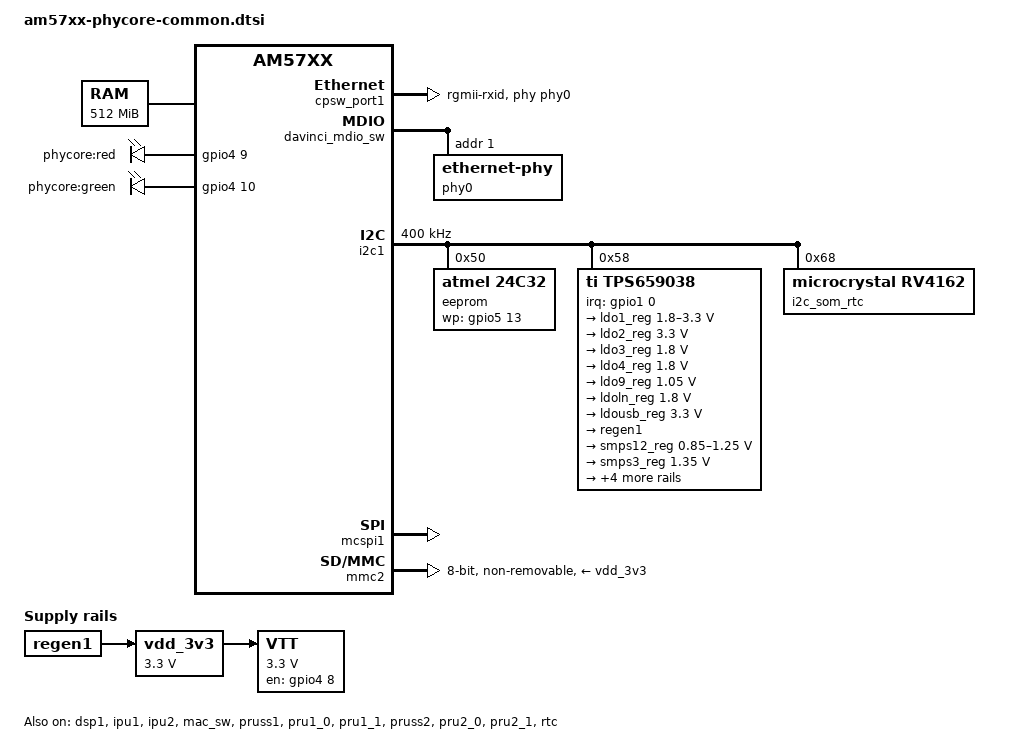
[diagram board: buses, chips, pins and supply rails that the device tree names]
// SPDX-License-Identifier: GPL-2.0
/*
 * Copyright (C) 2018 PHYTEC America, LLC. - https://www.phytec.com
 * Author: Russell Robinson <rrobinson@phytec.com>
 *
 * Copyright (C) 2023 PHYTEC Messtechnik GmbH
 * Author: Primoz Fiser <primoz.fiser@norik.com>
 *
 * Product homepage:
 * https://www.phytec.com/product/phycore-am57x
 */

#include <dt-bindings/gpio/gpio.h>
#include "am57xx-industrial-grade.dtsi"

/ {
	aliases {
		mmc1 = &mmc2;
		rtc0 = &i2c_som_rtc;
		rtc1 = &rtc;
		rtc2 = &i2c_pmic_rtc;
	};

	/*
	 * Set the minimum memory size here and
	 * let the bootloader set the real size.
	 */
	memory {
		device_type = "memory";
		reg = <0x0 0x80000000 0x0 0x20000000>;
	};

	reserved-memory {
		#address-cells = <2>;
		#size-cells = <2>;
		ranges;

		dsp1_memory_region: dsp1-memory@99000000 {
			compatible = "shared-dma-pool";
			reg = <0x0 0x99000000 0x0 0x4000000>;
			reusable;
		};

		ipu1_memory_region: ipu1-memory@9d000000 {
			compatible = "shared-dma-pool";
			reg = <0x0 0x9d000000 0x0 0x2000000>;
			reusable;
		};

		ipu2_memory_region: ipu2-memory@95800000 {
			compatible = "shared-dma-pool";
			reg = <0x0 0x95800000 0x0 0x3800000>;
			reusable;
		};
	};

	vdd_3v3: regulator-vdd-3v3 {
		compatible = "regulator-fixed";
		regulator-name = "VDD_3V3";
		vin-supply = <&regen1>;
		regulator-min-microvolt = <3300000>;
		regulator-max-microvolt = <3300000>;
	};

	regulator-vtt {
		/* TPS51200 */
		compatible = "regulator-fixed";
		regulator-name = "VTT";
		vin-supply = <&vdd_3v3>;
		regulator-min-microvolt = <3300000>;
		regulator-max-microvolt = <3300000>;
		regulator-always-on;
		regulator-boot-on;
		enable-active-high;
		gpio = <&gpio4 8 GPIO_ACTIVE_HIGH>;
	};

	leds {
		compatible = "gpio-leds";
		pinctrl-names = "default";
		pinctrl-0 = <&leds_som_pins_default>;
		pinctrl-1 = <&leds_som_pins_sleep>;

		led-3 {
			label = "phycore:red";
			gpios = <&gpio4 9 GPIO_ACTIVE_HIGH>;
			linux,default-trigger = "heartbeat";
		};

		led-4 {
			label = "phycore:green";
			gpios = <&gpio4 10 GPIO_ACTIVE_HIGH>;
			linux,default-trigger = "cpu0";
		};
	};
};

&dra7_pmx_core {
	davinci_mdio_pins_default: davinci_mdio_pins_default {
		pinctrl-single,pins = <
			/* MDIO */
			DRA7XX_CORE_IOPAD(0x363c, PIN_OUTPUT_PULLUP | MUX_MODE0)	/* (V1) mdio_mclk */
			DRA7XX_CORE_IOPAD(0x3640, PIN_INPUT_PULLUP | MUX_MODE0)		/* (U4) mdio_d */
		>;
	};

	davinci_mdio_pins_sleep: davinci_mdio_pins_sleep {
		pinctrl-single,pins = <
			DRA7XX_CORE_IOPAD(0x363c, PIN_INPUT | MUX_MODE15)
			DRA7XX_CORE_IOPAD(0x3640, PIN_INPUT | MUX_MODE15)
		>;
	};

	eeprom_wp_pin: eeprom_wp_pin {
		pinctrl-single,pins = <
			DRA7XX_CORE_IOPAD(0x3724, PIN_OUTPUT | MUX_MODE14)	/* mcasp3_aclkx.gpio5_13 */
		>;
	};

	emac0_pins_default: emac0_pins_default {
		pinctrl-single,pins = <
			/* Slave 1 */
			DRA7XX_CORE_IOPAD(0x3650, PIN_OUTPUT | MUX_MODE0)	/* (W9) rgmii0_txc */
			DRA7XX_CORE_IOPAD(0x3654, PIN_OUTPUT | MUX_MODE0)	/* (V9) rgmii0_txctl */
			DRA7XX_CORE_IOPAD(0x3658, PIN_OUTPUT | MUX_MODE0)	/* (V7) rgmii0_txd3 */
			DRA7XX_CORE_IOPAD(0x365c, PIN_OUTPUT | MUX_MODE0)	/* (U7) rgmii0_txd2 */
			DRA7XX_CORE_IOPAD(0x3660, PIN_OUTPUT | MUX_MODE0)	/* (V6) rgmii0_txd1 */
			DRA7XX_CORE_IOPAD(0x3664, PIN_OUTPUT | MUX_MODE0)	/* (U6) rgmii0_txd0 */
			DRA7XX_CORE_IOPAD(0x3668, PIN_INPUT | MUX_MODE0)	/* (U5) rgmii0_rxc */
			DRA7XX_CORE_IOPAD(0x366c, PIN_INPUT | MUX_MODE0)	/* (V5) rgmii0_rxctl */
			DRA7XX_CORE_IOPAD(0x3670, PIN_INPUT | MUX_MODE0)	/* (V4) rgmii0_rxd3 */
			DRA7XX_CORE_IOPAD(0x3674, PIN_INPUT | MUX_MODE0)	/* (V3) rgmii0_rxd2 */
			DRA7XX_CORE_IOPAD(0x3678, PIN_INPUT | MUX_MODE0)	/* (Y2) rgmii0_rxd1 */
			DRA7XX_CORE_IOPAD(0x367c, PIN_INPUT | MUX_MODE0)	/* (W2) rgmii0_rxd0 */
		>;

	};

	emac0_pins_sleep: emac0_pins_sleep {
		pinctrl-single,pins = <
			/* Slave 1 */
			DRA7XX_CORE_IOPAD(0x3650, PIN_INPUT | MUX_MODE15)
			DRA7XX_CORE_IOPAD(0x3654, PIN_INPUT | MUX_MODE15)
			DRA7XX_CORE_IOPAD(0x3658, PIN_INPUT | MUX_MODE15)
			DRA7XX_CORE_IOPAD(0x365c, PIN_INPUT | MUX_MODE15)
			DRA7XX_CORE_IOPAD(0x3660, PIN_INPUT | MUX_MODE15)
			DRA7XX_CORE_IOPAD(0x3664, PIN_INPUT | MUX_MODE15)
			DRA7XX_CORE_IOPAD(0x3668, PIN_INPUT | MUX_MODE15)
			DRA7XX_CORE_IOPAD(0x366c, PIN_INPUT | MUX_MODE15)
			DRA7XX_CORE_IOPAD(0x3670, PIN_INPUT | MUX_MODE15)
			DRA7XX_CORE_IOPAD(0x3674, PIN_INPUT | MUX_MODE15)
			DRA7XX_CORE_IOPAD(0x3678, PIN_INPUT | MUX_MODE15)
			DRA7XX_CORE_IOPAD(0x367c, PIN_INPUT | MUX_MODE15)
		>;
	};

	i2c1_pins_default: i2c1_pins_default {
		pinctrl-single,pins = <
			DRA7XX_CORE_IOPAD(0x3800, PIN_INPUT_PULLUP | MUX_MODE0)	/* (C21) i2c1_sda */
			DRA7XX_CORE_IOPAD(0x3804, PIN_INPUT_PULLUP | MUX_MODE0)	/* (C20) i2c1_scl */
		>;
	};

	i2c1_pins_sleep: i2c1_pins_sleep {
		pinctrl-single,pins = <
			DRA7XX_CORE_IOPAD(0x3800, PIN_INPUT | MUX_MODE15)
			DRA7XX_CORE_IOPAD(0x3804, PIN_INPUT | MUX_MODE15)
		>;
	};

	leds_som_pins_default: leds_som_pins_default {
		pinctrl-single,pins = <
			DRA7XX_CORE_IOPAD(0x3588, PIN_OUTPUT | MUX_MODE14)	/* (F5) vin2a_d8.gpio4_9 */
			DRA7XX_CORE_IOPAD(0x358c, PIN_OUTPUT | MUX_MODE14)	/* (E6) vin2a_d9.gpio4_10 */
		>;
	};

	leds_som_pins_sleep: leds_som_pins_sleep {
		pinctrl-single,pins = <
			DRA7XX_CORE_IOPAD(0x3588, PIN_INPUT_PULLDOWN | MUX_MODE15)
			DRA7XX_CORE_IOPAD(0x358c, PIN_INPUT_PULLDOWN | MUX_MODE15)
		>;
	};

	mcspi1_pins_default: mcspi1_pins_default {
		pinctrl-single,pins = <
			DRA7XX_CORE_IOPAD(0x37a4, PIN_INPUT | MUX_MODE0)         /* spi1_sclk */
			DRA7XX_CORE_IOPAD(0x37a8, PIN_INPUT | MUX_MODE0)         /* spi1_d1 */
			DRA7XX_CORE_IOPAD(0x37ac, PIN_INPUT | MUX_MODE0)         /* spi1_d0 */
			DRA7XX_CORE_IOPAD(0x37b0, PIN_OUTPUT_PULLUP | MUX_MODE0) /* spi1_cs0 */
			DRA7XX_CORE_IOPAD(0x37b4, PIN_OUTPUT_PULLUP | MUX_MODE0) /* spi1_cs1 */
		>;
	};

	mmc2_pins_sleep: mmc2_pins_sleep {
		pinctrl-single,pins = <
			DRA7XX_CORE_IOPAD(0x349c, PIN_INPUT | MUX_MODE15)
			DRA7XX_CORE_IOPAD(0x34b0, PIN_INPUT | MUX_MODE15)
			DRA7XX_CORE_IOPAD(0x34a0, PIN_INPUT | MUX_MODE15)
			DRA7XX_CORE_IOPAD(0x34a4, PIN_INPUT | MUX_MODE15)
			DRA7XX_CORE_IOPAD(0x34a8, PIN_INPUT | MUX_MODE15)
			DRA7XX_CORE_IOPAD(0x34ac, PIN_INPUT | MUX_MODE15)
			DRA7XX_CORE_IOPAD(0x348c, PIN_INPUT | MUX_MODE15)
			DRA7XX_CORE_IOPAD(0x3490, PIN_INPUT | MUX_MODE15)
			DRA7XX_CORE_IOPAD(0x3494, PIN_INPUT | MUX_MODE15)
			DRA7XX_CORE_IOPAD(0x3498, PIN_INPUT | MUX_MODE15)
		>;
	};

	tps659038_pins_default: tps659038_pins_default {
		pinctrl-single,pins = <
			DRA7XX_CORE_IOPAD(0x3818, PIN_INPUT_PULLUP | MUX_MODE14)	/* (AD17) Wakeup0.gpio1_0 */
		>;
	};
};

&cpu0 {
	vdd-supply = <&smps12_reg>;
	voltage-tolerance = <1>;
};

&cpsw_port1 {
	phy-handle = <&phy0>;
	phy-mode = "rgmii-rxid";
	ti,dual-emac-pvid = <1>;
};

&davinci_mdio_sw {
	pinctrl-names = "default", "sleep";
	pinctrl-0 = <&davinci_mdio_pins_default>;
	pinctrl-1 = <&davinci_mdio_pins_sleep>;

	phy0: ethernet-phy@1 {
		reg = <1>;
	};
};

&dsp1 {
	status = "okay";
	memory-region = <&dsp1_memory_region>;
};

&gpio4_target {
	ti,no-reset-on-init;
	ti,no-idle-on-init;
};

&i2c1 {
	status = "okay";
	pinctrl-names = "default", "sleep";
	pinctrl-0 = <&i2c1_pins_default>;
	pinctrl-1 = <&i2c1_pins_sleep>;
	clock-frequency = <400000>;

	eeprom@50 {
		compatible = "atmel,24c32";
		pinctrl-names = "default";
		pinctrl-0 = <&eeprom_wp_pin>;
		wp-gpios = <&gpio5 13 GPIO_ACTIVE_HIGH>;
		reg = <0x50>;
		pagesize = <32>;
	};

	tps659038: pmic@58 {
		compatible = "ti,tps659038";
		reg = <0x58>;
		interrupt-parent = <&gpio1>;
		interrupts = <0 IRQ_TYPE_LEVEL_LOW>;

		#interrupt-cells = <2>;
		interrupt-controller;

		pinctrl-names = "default";
		pinctrl-0 = <&tps659038_pins_default>;

		ti,system-power-controller;
		ti,palmas-override-powerhold;

		pmic {
			compatible = "ti,tps659038-pmic";

			regulators {
				ldo1_reg: ldo1 {
					regulator-name = "VDD_SD";
					regulator-min-microvolt = <1800000>;
					regulator-max-microvolt = <3300000>;
					regulator-always-on;
					regulator-boot-on;
				};

				ldo2_reg: ldo2 {
					regulator-name = "VDD_SHV5";
					regulator-min-microvolt = <3300000>;
					regulator-max-microvolt = <3300000>;
					regulator-always-on;
					regulator-boot-on;
				};

				ldo3_reg: ldo3 {
					regulator-name = "VDDA_1V8_PHYA";
					regulator-min-microvolt = <1800000>;
					regulator-max-microvolt = <1800000>;
					regulator-always-on;
					regulator-boot-on;
				};

				ldo4_reg: ldo4 {
					regulator-name = "VDDA_1V8_PHYB";
					regulator-min-microvolt = <1800000>;
					regulator-max-microvolt = <1800000>;
					regulator-always-on;
					regulator-boot-on;
				};

				ldo9_reg: ldo9 {
					regulator-name = "VDD_RTC";
					regulator-min-microvolt = <1050000>;
					regulator-max-microvolt = <1050000>;
					regulator-always-on;
					regulator-boot-on;
				};

				ldoln_reg: ldoln {
					regulator-name = "VDDA_1V8_PLL";
					regulator-min-microvolt = <1800000>;
					regulator-max-microvolt = <1800000>;
					regulator-always-on;
					regulator-boot-on;
				};

				ldousb_reg: ldousb {
					regulator-name = "VUSB_3V3";
					regulator-min-microvolt = <3300000>;
					regulator-max-microvolt = <3300000>;
					regulator-boot-on;
				};

				regen1: regen1 {
					regulator-name = "VDD_3V3_ON";
					regulator-boot-on;
					regulator-always-on;
				};

				smps12_reg: smps12 {
					regulator-name = "VDD_MPU";
					regulator-min-microvolt = <850000>;
					regulator-max-microvolt = <1250000>;
					regulator-always-on;
					regulator-boot-on;
				};

				smps3_reg: smps3 {
					regulator-name = "VDD_DDR";
					regulator-min-microvolt = <1350000>;
					regulator-max-microvolt = <1350000>;
					regulator-always-on;
					regulator-boot-on;
				};

				smps45_reg: smps45 {
					regulator-name = "VDD_DSP";
					regulator-min-microvolt = <850000>;
					regulator-max-microvolt = <1150000>;
					regulator-always-on;
					regulator-boot-on;
				};

				smps6_reg: smps6 {
					regulator-name = "VDD_CORE";
					regulator-min-microvolt = <850000>;
					regulator-max-microvolt = <1030000>;
					regulator-always-on;
					regulator-boot-on;
				};

				/* SMPS7 unused */

				smps8_reg: smps8 {
					regulator-name = "VDD_1V8";
					regulator-min-microvolt = <1800000>;
					regulator-max-microvolt = <1800000>;
					regulator-always-on;
					regulator-boot-on;
				};

				smps9_reg: smps9 {
					regulator-name = "ETH0_VDD_1V2";
					regulator-min-microvolt = <1200000>;
					regulator-max-microvolt = <1200000>;
					regulator-always-on;
					regulator-boot-on;
				};
			};
		};

		power-button {
			compatible = "ti,palmas-pwrbutton";
			interrupt-parent = <&tps659038>;
			interrupts = <1 IRQ_TYPE_EDGE_FALLING>;
			wakeup-source;
			ti,palmas-long-press-seconds = <12>;
		};

		i2c_pmic_rtc: rtc {
			compatible = "ti,palmas-rtc";
			interrupt-parent = <&tps659038>;
			interrupts = <8 IRQ_TYPE_EDGE_FALLING>;
			wakeup-source;
		};

		extcon_usb2: extcon {
			compatible = "ti,palmas-usb-vid";
			ti,enable-vbus-detection;
			ti,enable-id-detection;
		};
	};

	i2c_som_rtc: rtc@68 {
		compatible = "microcrystal,rv4162";
		reg = <0x68>;
		wakeup-source;
	};
};

&ipu1 {
	status = "okay";
	memory-region = <&ipu1_memory_region>;
};

&ipu2 {
	status = "okay";
	memory-region = <&ipu2_memory_region>;
};

&mac_sw {
	status = "okay";
	slaves = <1>;
	pinctrl-names = "default", "sleep";
	pinctrl-0 = <&emac0_pins_default>;
	pinctrl-1 = <&emac0_pins_sleep>;
};

&mailbox3 {
	status = "okay";
	mbox_pru1_0: mbox-pru1-0 {
		ti,mbox-tx = <0 0 0>;
		ti,mbox-rx = <1 0 0>;
		status = "okay";
	};
	mbox_pru1_1: mbox-pru1-1 {
		ti,mbox-tx = <2 0 0>;
		ti,mbox-rx = <3 0 0>;
		status = "okay";
	};
};

&mailbox4 {
	status = "okay";
	mbox_pru2_0: mbox-pru2-0 {
		ti,mbox-tx = <0 0 0>;
		ti,mbox-rx = <1 0 0>;
		status = "okay";
	};
	mbox_pru2_1: mbox-pru2-1 {
		ti,mbox-tx = <2 0 0>;
		ti,mbox-rx = <3 0 0>;
		status = "okay";
	};
};

&mcspi1 {
	status = "okay";
	pinctrl-names = "default";
	pinctrl-0 = <&mcspi1_pins_default>;
	ti,pindir-d0-out-d1-in;
};

&mmc2 {
	status = "okay";
	vmmc-supply = <&vdd_3v3>;
	bus-width = <8>;
	non-removable;
	max-frequency = <96000000>;
	no-1-8-v;
};

&pruss1 {
	status = "okay";
};

&pruss1_mdio {
	status = "disabled";
};

&pru1_0 {
	mboxes = <&mailbox3 &mbox_pru1_0>;
	status = "okay";
};

&pru1_1 {
	mboxes = <&mailbox3 &mbox_pru1_1>;
	status = "okay";
};

&pruss2 {
	status = "okay";
};

&pruss2_mdio {
	status = "disabled";
};

&pru2_0 {
	mboxes = <&mailbox4 &mbox_pru2_0>;
	status = "okay";
};

&pru2_1 {
	mboxes = <&mailbox4 &mbox_pru2_1>;
	status = "okay";
};

&rtc {
	status = "okay";
};
